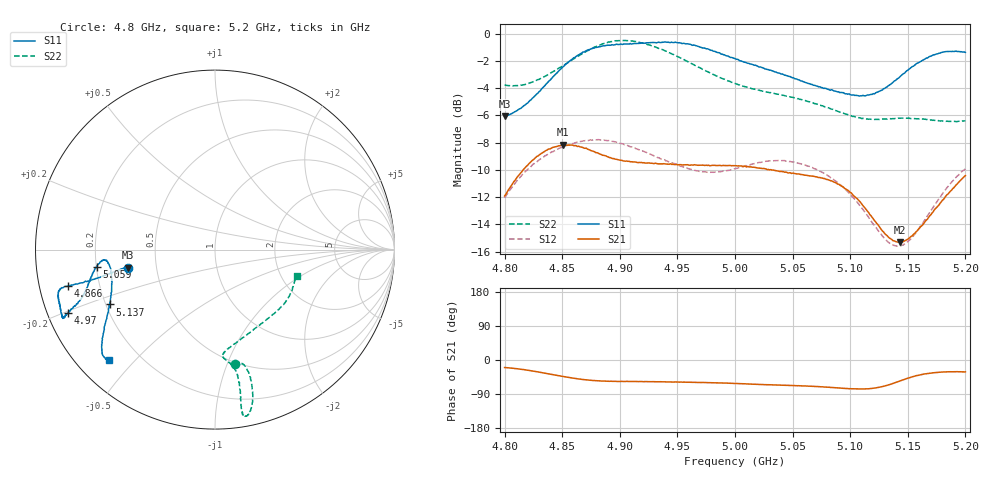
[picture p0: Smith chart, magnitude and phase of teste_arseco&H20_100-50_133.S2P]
! Network Analyzer HP8722D
! Hewlett-Packard
! Data name: Linha & Wilkinson
! Saver's name: Rodrigo Anjos
! Comments: Teste da utilização de aquisição
! continua pelo VNA HP8722D
! Time and date: 6/5/2025 13:40
!  Frequency  S11  S21  S12  S22
# HZ  S  MA R 50
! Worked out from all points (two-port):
!   401 points, 4.8 GHz to 5.2 GHz, reference 50 ohm
!   highest |S21| = -8.16 dB at 4.851 GHz (marker M1); lowest = -15.3 dB at 5.143 GHz (marker M2)
!   |S21| within 3 dB of the highest: 4.806 GHz to 5.092 GHz (285.9 MHz wide, 5.78 % of centre); 5.191483 GHz to end of sweep
!   lowest |S11| = -6.1 dB at 4.8 GHz (marker M3), VSWR 2.98, Z = 16.9 - j4.54 ohm
!   |S11| at or under -10 dB: nowhere
!   |S22| runs from -6.5 to -0.5 dB; largest |S21 - S12| = 0.62
!   S11 on the Smith chart (normalised r, x): 4.8 GHz: 0.34, -0.09; 4.866 GHz: 0.09, -0.12; 4.97 GHz: 0.06, -0.21; 5.059 GHz: 0.20, -0.07; 5.137 GHz: 0.22, -0.23; 5.2 GHz: 0.09, -0.42
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4.8e9  0.4973 -168.3  0.2534 -19.9  0.2498 -141.1  0.649 -80.3
4.825e9  0.5831 -167.5  0.3443 -29.4  0.3329 -144.6  0.6663 -75.7
4.851e9  0.757 -165.9  0.3909 -43.6  0.3845 -149.6  0.7656 -74.7
4.866e9  0.8446 -166.1  0.3835 -50.6  0.4016 -152.1  0.8369 -75.4
4.867e9  0.8487 -166.0  0.3829 -51.2  0.4024 -152.2  0.8429 -75.5
4.899e9  0.9118 -163.1  0.344 -56.7  0.3969 -156.9  0.9425 -79.2
4.913e9  0.9196 -160.0  0.3379 -56.7  0.3803 -157.2  0.9357 -80.3
4.934e9  0.9301 -156.6  0.3326 -57.6  0.3504 -155.8  0.8819 -80.5
4.97e9  0.8922 -156.7  0.3287 -59.3  0.3123 -147.1  0.7471 -79.8
5e9  0.8094 -159.1  0.3275 -62.1  0.3194 -137.4  0.6562 -81.3
5.032e9  0.7308 -164.7  0.3156 -65.6  0.3412 -134.3  0.605 -85.4
5.059e9  0.6669 -171.7  0.3034 -68.6  0.3306 -136.3  0.5706 -84.5
5.067e9  0.6506 -173.1  0.2999 -69.4  0.3225 -136.9  0.5576 -82.7
5.084e9  0.6227 -174.7  0.2879 -72.5  0.2944 -138.6  0.528 -76.1
5.101e9  0.5957 -172.0  0.26 -75.9  0.2546 -138.9  0.4992 -66.4
5.116e9  0.5955 -165.4  0.2205 -76.0  0.2118 -135.6  0.4848 -55.6
5.134e9  0.6469 -154.3  0.1777 -65.2  0.1703 -120.5  0.4874 -43.3
5.137e9  0.6615 -152.5  0.1739 -61.9  0.1676 -116.7  0.4875 -41.5
5.143e9  0.6935 -149.3  0.1714 -55.6  0.1661 -108.8  0.4891 -38.1
5.154e9  0.7576 -144.6  0.1811 -44.2  0.1798 -95.0  0.489 -32.3
5.173e9  0.8362 -139.0  0.2253 -33.5  0.2338 -80.9  0.4805 -24.2
5.2e9  0.8529 -133.8  0.301 -31.4  0.3191 -77.0  0.478 -17.6
